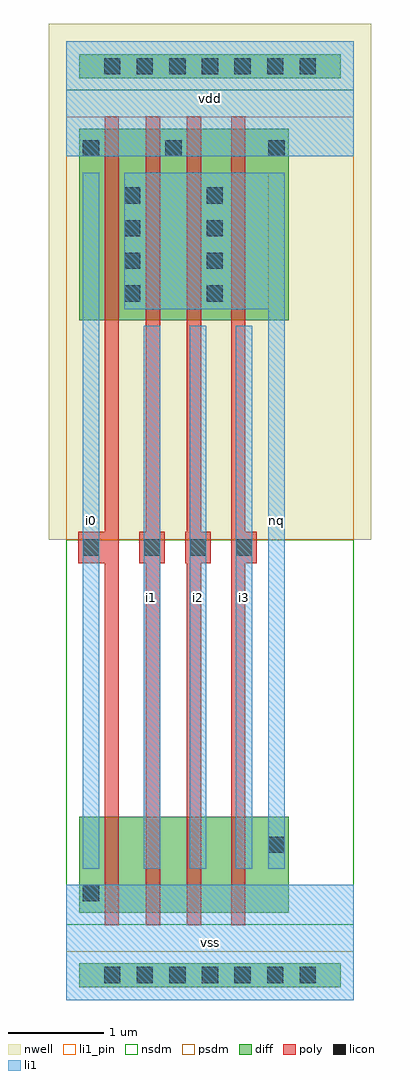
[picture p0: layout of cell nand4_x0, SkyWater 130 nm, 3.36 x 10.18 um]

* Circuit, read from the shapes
.subckt nand4_x0 i0 i1 i2 i3 nq vdd vss
XM1 n1 i0 vss VSUBS sky130_fd_pr__nfet_01v8 w=1 l=0.15
XM2 n2 i1 n1 VSUBS sky130_fd_pr__nfet_01v8 w=1 l=0.15
XM3 n3 i2 n2 VSUBS sky130_fd_pr__nfet_01v8 w=1 l=0.15
XM4 nq i3 n3 VSUBS sky130_fd_pr__nfet_01v8 w=1 l=0.15
XM5 nq i0 vdd n4 sky130_fd_pr__pfet_01v8 w=2 l=0.15
XM6 vdd i1 nq n4 sky130_fd_pr__pfet_01v8 w=2 l=0.15
XM7 nq i2 vdd n4 sky130_fd_pr__pfet_01v8 w=2 l=0.15
XM8 vdd i3 nq n4 sky130_fd_pr__pfet_01v8 w=2 l=0.15
.ends

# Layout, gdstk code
import gdstk
lib = gdstk.Library(unit=1e-6, precision=1e-09)
def R(c, l, rs):  # rectangles x0, y0, x1, y1
    for r in rs: c.add(gdstk.rectangle(r[:2], r[2:], *l))
def A(c, l, x, y, w, h, nx, ny, dx, dy):  # array of equal rectangles
    R(c, l, [(x+i*dx, y+j*dy, x+i*dx+w, y+j*dy+h) for i in range(nx) for j in range(ny)])
def P(c, l, *ps):  # polygons
    for p in ps: c.add(gdstk.Polygon(p, *l))
nwell = (64, 20)
diff = (65, 20)
poly = (66, 20)
licon = (66, 44)
li1_pin = (67, 16)
li1 = (67, 20)
nsdm = (93, 44)
psdm = (94, 20)

nand4_x0 = lib.new_cell('nand4_x0')
R(nand4_x0, nwell, [(-0.18,4.8,3.18,10.18)])
R(nand4_x0, diff, [(0.135,0.135,2.865,0.385), (0.135,0.91,2.32,1.91), (0.135,7.09,2.32,9.09), (0.135,9.615,2.865,9.865)])
P(nand4_x0, poly, [(0.4,0.78),(0.4,4.555),(0.125,4.555),(0.125,4.885),(0.4,4.885),(0.4,9.22),(0.55,9.22),(0.55,0.78)],
  [(0.83,0.78),(0.83,4.555),(0.76,4.555),(0.76,4.885),(0.83,4.885),(0.83,9.22),(0.98,9.22),(0.98,4.885),(1.03,4.885),(1.03,4.555),(0.98,4.555),(0.98,0.78)],
  [(1.26,0.78),(1.26,4.555),(1.24,4.555),(1.24,4.885),(1.26,4.885),(1.26,9.22),(1.41,9.22),(1.41,4.885),(1.51,4.885),(1.51,4.555),(1.41,4.555),(1.41,0.78)],
  [(1.72,0.78),(1.72,9.22),(1.87,9.22),(1.87,4.885),(1.99,4.885),(1.99,4.555),(1.87,4.555),(1.87,0.78)])
A(nand4_x0, licon, 0.395, 0.175, 0.17, 0.17, 7, 2, 0.34, 9.48)
A(nand4_x0, licon, 0.81, 4.635, 0.17, 0.17, 3, 1, 0.48, 0)
A(nand4_x0, licon, 0.605, 7.285, 0.17, 0.17, 1, 4, 0, 0.34)
A(nand4_x0, licon, 1.465, 7.285, 0.17, 0.17, 1, 4, 0, 0.34)
R(nand4_x0, licon, [(0.175,1.03,0.345,1.2), (2.11,1.535,2.28,1.705), (0.175,4.635,0.345,4.805), (0.175,8.8,0.345,8.97), (1.035,8.8,1.205,8.97), (2.11,8.8,2.28,8.97)])
A(nand4_x0, li1_pin, 0.81, 1.37, 0.17, 5.665, 3, 1, 0.48, 0)
R(nand4_x0, li1_pin, [(0,0,3,1.2), (0.175,1.37,0.345,8.63), (2.11,1.37,2.28,8.63), (0,8.8,3,10)])
A(nand4_x0, li1, 0.81, 1.37, 0.17, 5.665, 3, 1, 0.48, 0)
R(nand4_x0, li1, [(0,0,3,1.2), (0.175,1.37,0.345,8.63), (0,8.8,3,10)])
P(nand4_x0, li1, [(2.11,1.37),(2.11,7.205),(0.605,7.205),(0.605,8.63),(2.28,8.63),(2.28,1.37)])
R(nand4_x0, nsdm, [(0,0.785,3,4.8), (0,9.49,3,10)])
R(nand4_x0, psdm, [(0,0,3,0.51), (0,4.8,3,9.215)])
nand4_x0.add(gdstk.Label('vss', (1.5,0.6), layer=67, texttype=16))
nand4_x0.add(gdstk.Label('vdd', (1.5,9.4), layer=67, texttype=16))
nand4_x0.add(gdstk.Label('i0', (0.26,5), layer=67, texttype=16))
nand4_x0.add(gdstk.Label('nq', (2.195,5), layer=67, texttype=16))
nand4_x0.add(gdstk.Label('i1', (0.895,4.203), layer=67, texttype=16))
nand4_x0.add(gdstk.Label('i2', (1.375,4.203), layer=67, texttype=16))
nand4_x0.add(gdstk.Label('i3', (1.855,4.203), layer=67, texttype=16))

lib.write_gds('nand4_x0.gds')
